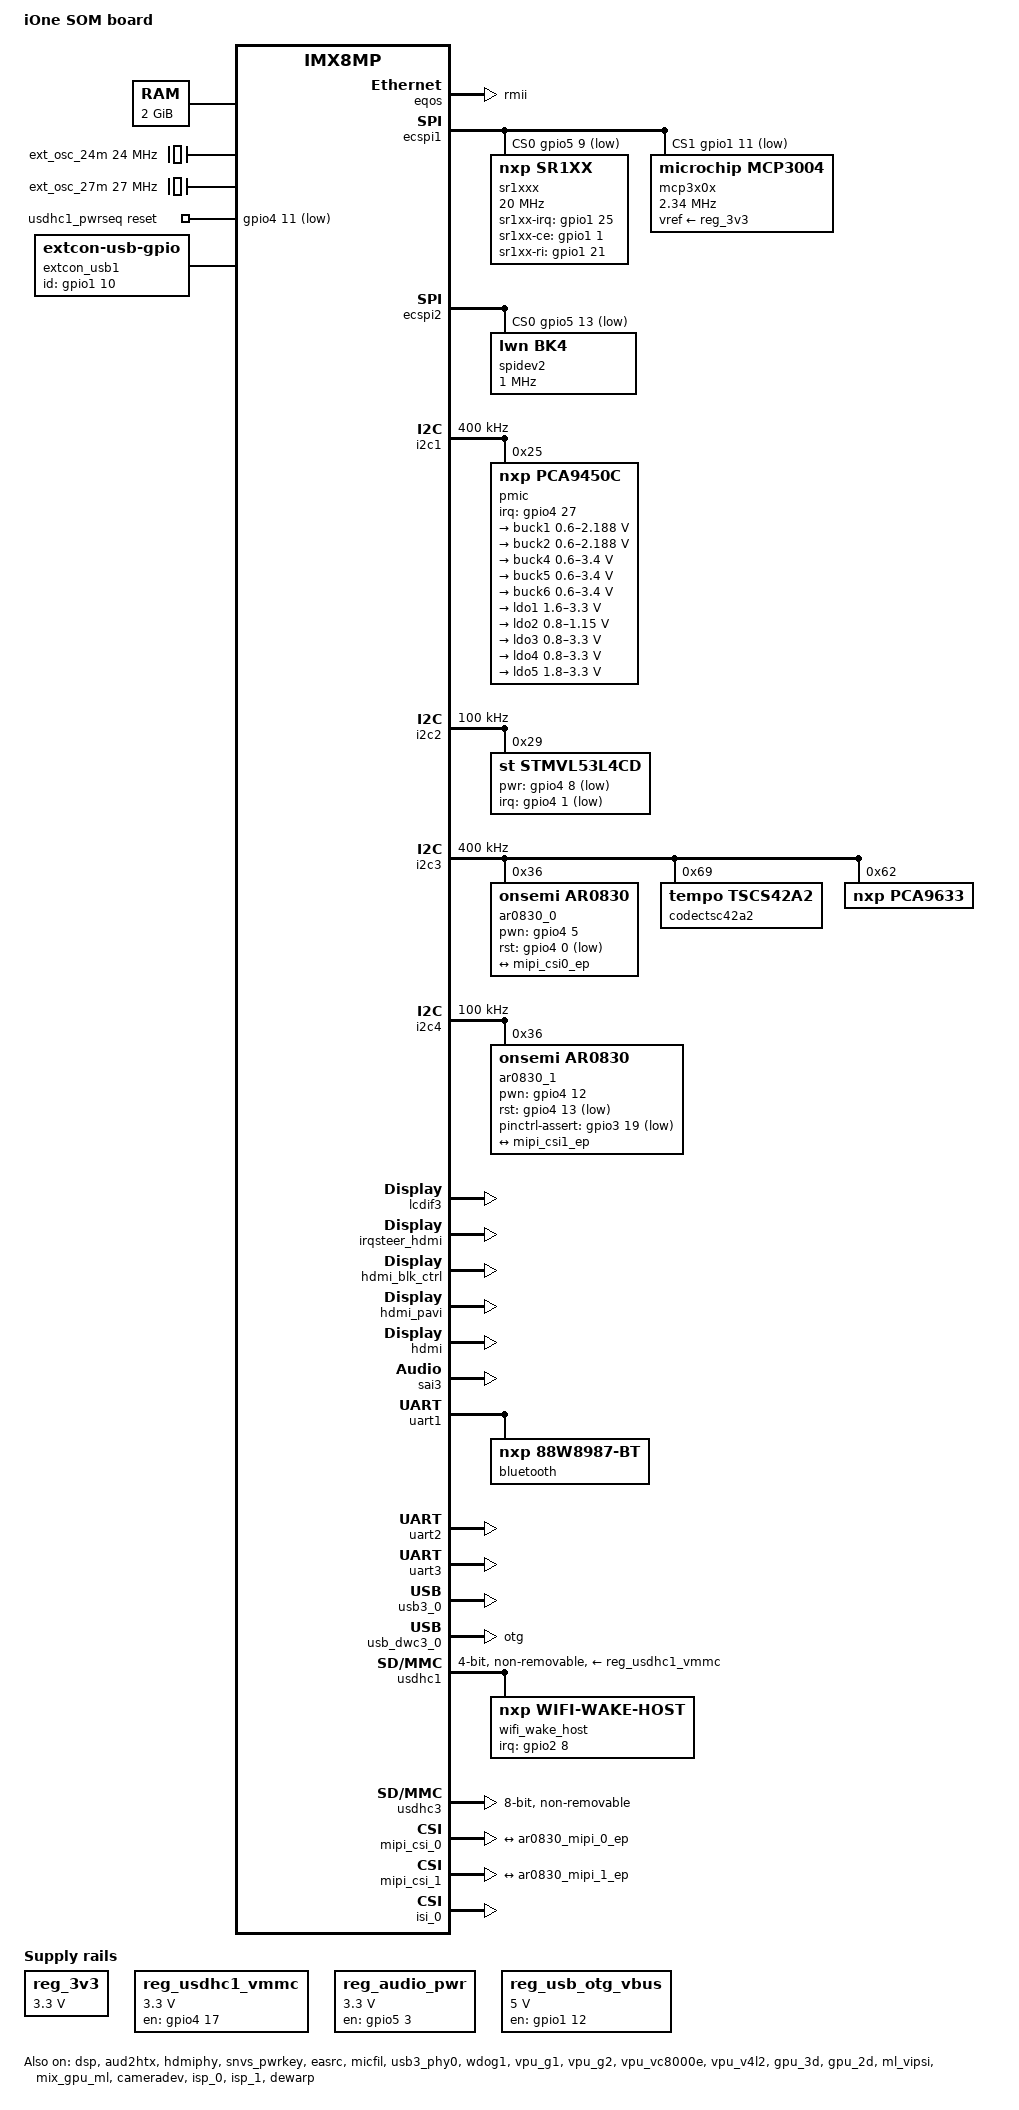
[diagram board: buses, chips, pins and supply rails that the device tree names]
// SPDX-License-Identifier: (GPL-2.0+ OR MIT)
/*
 * Copyright 2019 NXP
 * Copyright 2022 Future Electronics
 */

/dts-v1/;

#include <dt-bindings/usb/pd.h>
#include "imx8mp.dtsi"

/ {
	model = "iOne SOM board";
	compatible = "fsl,imx8mp-evk", "fsl,imx8mp";

	chosen {
		stdout-path = &uart2;
	};

	memory@40000000 {
		device_type = "memory";
		reg = <0x0 0x40000000 0 0x80000000>;
	};

	reg_3v3: reg_3v3 {
		compatible = "regulator-fixed";
		regulator-name = "3v3";
		regulator-min-microvolt = <3300000>;
		regulator-max-microvolt = <3300000>;
		regulator-always-on;
	};

	ext_osc_24m: ext-osc-24m {
		compatible = "fixed-clock";
		#clock-cells = <0>;
		clock-frequency = <24000000>;
	};

	ext_osc_27m: ext-osc-27m {
		compatible = "fixed-clock";
		#clock-cells = <0>;
		clock-frequency = <27000000>;
	};

	// clock_ext_rmii: clock-ext-rmii {
	// 	compatible = "fixed-clock";
	// 	#clock-cells = <0>;
	// 	clock-frequency = <50000000>;
	// 	clock-output-names = "ext_rmii_clk";
	// };
		
	// clock_ext_ts: clock-ext-ts {
	// 	compatible = "fixed-clock";
	// 	#clock-cells = <0>;
	// 	clock-frequency = <50000000>;
	// 	clock-output-names = "ext_ts_clk";
	// };
		
	reg_usdhc1_vmmc: regulator-usdhc1 {
		compatible = "regulator-fixed";
		regulator-name = "WLAN_EN";
		regulator-min-microvolt = <3300000>;
		regulator-max-microvolt = <3300000>;
		gpio = <&gpio4 17 GPIO_ACTIVE_HIGH>;
		/*
		 * IW612 wifi chip needs more delay than other wifi chips to complete
		 * the host interface initialization after power up, otherwise the
		 * internal state of IW612 may be unstable, resulting in the failure of
		 * the SDIO3.0 switch voltage.
		 */
		startup-delay-us = <20000>;
		enable-active-high;
	};

	usdhc1_pwrseq: usdhc1_pwrseq {
		compatible = "mmc-pwrseq-simple";
		reset-gpios = <&gpio4 11 GPIO_ACTIVE_LOW>;
		post-power-on-delay-ms = <80>;
	};
	
	reg_audio_pwr: regulator-audio-pwr {
		compatible = "regulator-fixed";
		regulator-name = "audio-pwr";
		regulator-min-microvolt = <3300000>;
		regulator-max-microvolt = <3300000>;
		gpio = <&gpio5 3 GPIO_ACTIVE_HIGH>;
		enable-active-high;
		regulator-always-on;
	};

	reg_usb_otg_vbus: regulator-usb-otg-vbus {
		compatible = "regulator-fixed";
		pinctrl-names = "default";
		pinctrl-0 = <&pinctrl_usb0_vbus>;
		regulator-name = "usb_otg_vbus";
		regulator-min-microvolt = <5000000>;
		regulator-max-microvolt = <5000000>;
		gpio = <&gpio1 12 GPIO_ACTIVE_HIGH>;
		enable-active-high;
	};
	
	extcon_usb1: extcon_usb1 {
		compatible = "linux,extcon-usb-gpio";
		pinctrl-names = "default";
		pinctrl-0 = <&pinctrl_extcon>;
		id-gpio = <&gpio1 10 GPIO_ACTIVE_HIGH>;
		status = "okay";
	};

	trusty {
		compatible = "android,trusty-smc-v1";
		ranges;
		#address-cells = <2>;
		#size-cells = <2>;
		trusty-irq {
			compatible = "android,trusty-irq-v1";
			interrupt-ranges = < 0 15 0>;
			ipi-range = <8 15 8>;
		};
		trusty-virtio {
			compatible = "android,trusty-virtio-v1";
		};
		trusty-log {
			compatible = "android,trusty-log-v1";
		};
	};
	
	sound {
		compatible = "simple-audio-card";
		simple-audio-card,name = "TSCS42A2-Sound-card";
		simple-audio-card,format = "i2s";
		simple-audio-card,bitclock-master = <&dailink0_master>;
		simple-audio-card,frame-master = <&dailink0_master>;
		simple-audio-card,widgets =
			"Speaker", "Speakers",
			"Microphone", "Analog Mic",
			"Microphone", "Digital Mic",
			"Line", "Line In";
		simple-audio-card,routing =
			"Speakers", "Speaker L",
			"Speakers", "Speaker R",
			"Line In 3 L", "Digital Mic",
			"Line In 3 R", "Digital Mic",
			"Digital Mic", "Digital Mic Enable",
			"Line In 1 L", "Analog Mic",
			"Line In 1 R", "Analog Mic",
			"Analog Mic", "Mic Bias",
			"Line In 2 L", "Line In",
			"Line In 2 R", "Line In";
		status = "okay";
		cpu_dai: simple-audio-card,cpu {
			sound-dai = <&sai3>;
			status = "okay";
		};
		dailink0_master: simple-audio-card,codec {
			sound-dai = <&codectsc42a2>;
			clocks = <&audio_blk_ctrl IMX8MP_CLK_AUDIOMIX_SAI3_MCLK1>;
			status = "okay";
		};
	};

	sound-hdmi {
		compatible = "fsl,imx-audio-hdmi";
		model = "audio-hdmi";
		audio-cpu = <&aud2htx>;
		hdmi-out;
		constraint-rate = <44100>,
				<88200>,
				<176400>,
				<32000>,
				<48000>,
				<96000>,
				<192000>;
		status = "okay";
	};

	sound-micfil {
		compatible = "fsl,imx-audio-card";
		model = "imx-audio-micfil";
		pri-dai-link {
			link-name = "micfil hifi";
			format = "i2s";
			cpu {
				sound-dai = <&micfil>;
			};
		};
	};
};

&clk {
	assigned-clocks = <&clk IMX8MP_CLK_AUDIO_AHB>,
			  <&clk IMX8MP_CLK_AUDIO_AXI_SRC>,
			  <&clk IMX8MP_AUDIO_PLL1>,
			  <&clk IMX8MP_AUDIO_PLL2>,
			  <&clk IMX8MP_VIDEO_PLL1>;
	assigned-clock-parents = <&clk IMX8MP_SYS_PLL1_800M>,
				 <&clk IMX8MP_SYS_PLL3_OUT>;
	assigned-clock-rates = <400000000>,
			       <600000000>,
			       <393216000>,
			       <361267200>,
			       <1039500000>;
};

&{/reserved-memory} {
	linux,cma {
		size = <0 0x1e000000>;
		alloc-ranges = <0 0x40000000 0 0x80000000>;
	};
	
	gpu_reserved@100000000 {
		reg = <0x0 0x80000000 0 0x10000000>;	/*moving GPU memory into the 2GB space*/
	};
};

&A53_0 {
	cpu-supply = <&buck2>;
};

&A53_1 {
	cpu-supply = <&buck2>;
};

&A53_2 {
	cpu-supply = <&buck2>;
};

&A53_3 {
	cpu-supply = <&buck2>;
};

&dsp {
	status = "okay";
};

&aud2htx {
	status = "okay";
};

&eqos {
	pinctrl-names = "default";
	pinctrl-0 = <&pinctrl_eqos>;
	phy-mode = "rmii";
	//--phy-handle = <&ethphy0>;
	status = "okay";
	//--snps,rmii_refclk_ext;
	// clocks = <&clk IMX8MP_CLK_ENET_QOS_ROOT>,
	// 	<&clk IMX8MP_CLK_QOS_ENET_ROOT>,
	// 	<&clk IMX8MP_CLK_ENET_QOS_TIMER>,
	// 	<&clock_ext_rmii>;
	// clock-names = "stmmaceth",
	// 	"pclk",
	// 	"ptp_ref",
	// 	"tx";
	// assigned-clocks = <&clk IMX8MP_CLK_ENET_QOS_TIMER>;
	// assigned-clock-parents = <&clock_ext_ts>;
	 
	// mdio {
	// 	compatible = "snps,dwmac-mdio";
	// 	#address-cells = <1>;
	// 	#size-cells = <0>;
 
	// 	ethphy0: ethernet-phy@0 {
	// 		compatible = "ethernet-phy-ieee802.3-c22";
	// 		reg = <0>;
	// 		// eee-broken-1000t;
	// 		reset-gpios = <&gpio4 7 GPIO_ACTIVE_LOW>;
	// 		// interrupt-parent = <&gpio4>;
	// 		// interrupts = <6 0>;
	// 		max-speed = <100>;
	// 		reset-assert-us = <10000>;
	// 		reset-deassert-us = <80000>;
	// 		// realtek,clkout-disable;
	// 	};
	// };
};

&ecspi1 {
	#address-cells = <1>;
	#size-cells = <0>;
	// compatible = "fsl,imx8mp-ecspi";
	pinctrl-names = "default";
	pinctrl-0 = <&pinctrl_ecspi1>;
	cs-gpios = <&gpio5 9 GPIO_ACTIVE_LOW>,
			   <&gpio1 11 GPIO_ACTIVE_LOW>;
	status = "okay";

	sr1xxx: sr1xx@0 {
		compatible = "nxp,sr1xx";
		reg = <0>;	/* CE0 */
		pinctrl-names = "default";
	//---- Double check this 	pinctrl-0 = <&pinctrl_sr1xx>;
		nxp,sr1xx-irq = <&gpio1 25 0>;	//interrupt 
		nxp,sr1xx-ce = <&gpio1 1 0>;	//UWB enable
		nxp,sr1xx-ri = <&gpio1 21 0>;	//read indicator
		spi-max-frequency = <20000000>;
	};
	
	mcp3x0x: mcp3x0x@1 { /* ADC */
		compatible = "microchip,mcp3004";
		reg = <1>;
		spi-max-frequency = <2340000>; //was 1MHz
		vref-supply = <&reg_3v3>;
	};
};

&ecspi2 {
	#address-cells = <1>;
	#size-cells = <0>;
	pinctrl-names = "default";
	pinctrl-0 = <&pinctrl_ecspi2>;
	cs-gpios = <&gpio5 13 GPIO_ACTIVE_LOW>;
	status = "okay";

	spidev2: spidev@0 {
		reg = <0>;
		compatible = "lwn,bk4";
		spi-max-frequency = <1000000>;
	};
};

&gpio1 {
	gpio-line-names = 
		"gpio1-00", "gpio1-01", "gpio1-02", "gpio1-03",
		"gpio1-04", "gpio1-05", "gpio1-06", "gpio1-07",
		"gpio1-08", "gpio1-09", "gpio1-10", "gpio1-11",
		"gpio1-12", "gpio1-13", "gpio1-14", "gpio1-15",
		"gpio1-16", "gpio1-17", "gpio1-18", "gpio1-19",
		"gpio1-20", "gpio1-21", "gpio1-22", "gpio1-23",
		"gpio1-24", "gpio1-25", "gpio1-26", "gpio1-27",
		"gpio1-28", "gpio1-29", "gpio1-30", "gpio1-31";
};

&gpio2 {
	gpio-line-names = 
		"gpio2-00", "gpio2-01", "gpio2-02", "gpio2-03",
		"gpio2-04", "gpio2-05", "gpio2-06", "gpio2-07",
		"gpio2-08", "gpio2-09", "gpio2-10", "gpio2-11",
		"gpio2-12", "gpio2-13", "gpio2-14", "gpio2-15",
		"gpio2-16", "gpio2-17", "gpio2-18", "gpio2-19",
		"gpio2-20", "gpio2-21", "gpio2-22", "gpio2-23",
		"gpio2-24", "gpio2-25", "gpio2-26", "gpio2-27",
		"gpio2-28", "gpio2-29", "gpio2-30", "gpio2-31";
};

&gpio3 {
	gpio-line-names = 
		"gpio3-00", "gpio3-01", "gpio3-02", "gpio3-03",
		"gpio3-04", "gpio3-05", "gpio3-06", "gpio3-07",
		"gpio3-08", "gpio3-09", "gpio3-10", "gpio3-11",
		"gpio3-12", "gpio3-13", "gpio3-14", "gpio3-15",
		"gpio3-16", "gpio3-17", "gpio3-18", "gpio3-19",
		"gpio3-20", "gpio3-21", "gpio3-22", "gpio3-23",
		"gpio3-24", "gpio3-25", "gpio3-26", "gpio3-27",
		"gpio3-28", "gpio3-29", "gpio3-30", "gpio3-31";
};

&gpio4 {
	gpio-line-names = 
		"CAM1_nRST",  "gpio4-01",  "gpio4-02",  "LTE_WAKE",
		"CAM1_FLASH", "CAM1_TRIG", "ENET_nINT", "ENET_nRST",
		"gpio4-08",   "gpio4-09",  "LTE_RST",   "gpio4-11",
		"gpio4-12",   "gpio4-13",  "gpio4-14",  "gpio4-15",
		"gpio4-16",   "gpio4-17",  "gpio4-18",  "gpio4-19",
		"LTE_PWRON",  "gpio4-21",  "gpio4-22",  "gpio4-23",
		"gpio4-24",   "gpio4-25",  "gpio4-26",  "gpio4-27",
		"gpio4-28",   "gpio4-29",  "gpio4-30",  "gpio4-31";
		
	// TODO: set up LTE defaults
	// probably LTE_WAKE high and LTE_PWRON high 
};

&gpio5 {
	gpio-line-names = 
		"gpio5-00", "gpio5-01", "gpio5-02", "gpio5-03",
		"gpio5-04", "gpio5-05", "gpio5-06", "gpio5-07",
		"gpio5-08", "gpio5-09", "gpio5-10", "gpio5-11",
		"gpio5-12", "gpio5-13", "gpio5-14", "gpio5-15",
		"gpio5-16", "gpio5-17", "gpio5-18", "gpio5-19",
		"gpio5-20", "gpio5-21", "gpio5-22", "gpio5-23",
		"gpio5-24", "gpio5-25", "gpio5-26", "gpio5-27",
		"gpio5-28", "gpio5-29", "gpio5-30", "gpio5-31";
};

&i2c1 {
	clock-frequency = <400000>;
	pinctrl-names = "default";
	pinctrl-0 = <&pinctrl_i2c1>;
	status = "okay";

	pmic@25 {
		compatible = "nxp,pca9450c";
		reg = <0x25>;
		pinctrl-names = "default";
		pinctrl-0 = <&pinctrl_pmic>;
		interrupt-parent = <&gpio4>;
		interrupts = <27 IRQ_TYPE_LEVEL_LOW>;

		regulators {
			buck1: BUCK1 {
				regulator-name = "BUCK1";
				regulator-min-microvolt = <600000>;
				regulator-max-microvolt = <2187500>;
				regulator-boot-on;
				regulator-always-on;
				regulator-ramp-delay = <3125>;
			};

			buck2: BUCK2 {
				regulator-name = "BUCK2";
				regulator-min-microvolt = <600000>;
				regulator-max-microvolt = <2187500>;
				regulator-boot-on;
				regulator-always-on;
				regulator-ramp-delay = <3125>;
				nxp,dvs-run-voltage = <950000>;
				nxp,dvs-standby-voltage = <850000>;
			};

			buck4: BUCK4 {
				regulator-name = "BUCK4";
				regulator-min-microvolt = <600000>;
				regulator-max-microvolt = <3400000>;
				regulator-boot-on;
				regulator-always-on;
			};

			buck5: BUCK5 {
				regulator-name = "BUCK5";
				regulator-min-microvolt = <600000>;
				regulator-max-microvolt = <3400000>;
				regulator-boot-on;
				regulator-always-on;
			};

			buck6: BUCK6 {
				regulator-name = "BUCK6";
				regulator-min-microvolt = <600000>;
				regulator-max-microvolt = <3400000>;
				regulator-boot-on;
				regulator-always-on;
			};

			ldo1: LDO1 {
				regulator-name = "LDO1";
				regulator-min-microvolt = <1600000>;
				regulator-max-microvolt = <3300000>;
				regulator-boot-on;
				regulator-always-on;
			};

			ldo2: LDO2 {
				regulator-name = "LDO2";
				regulator-min-microvolt = <800000>;
				regulator-max-microvolt = <1150000>;
				regulator-boot-on;
				regulator-always-on;
			};

			ldo3: LDO3 {
				regulator-name = "LDO3";
				regulator-min-microvolt = <800000>;
				regulator-max-microvolt = <3300000>;
				regulator-boot-on;
				regulator-always-on;
			};

			ldo4: LDO4 {
				regulator-name = "LDO4";
				regulator-min-microvolt = <800000>;
				regulator-max-microvolt = <3300000>;
				regulator-boot-on;
				regulator-always-on;
			};

			ldo5: LDO5 {
				regulator-name = "LDO5";
				regulator-min-microvolt = <1800000>;
				regulator-max-microvolt = <3300000>;
				regulator-boot-on;
				regulator-always-on;
			};
		};
	};
};

&i2c2 {
	clock-frequency = <100000>;
	pinctrl-names = "default";
	pinctrl-0 = <&pinctrl_i2c2>;
	status = "okay";

	// stmvl53l4cd: stmvl53l4cd@29 { /* Tamper Detector */
	// 	// compatible = "st,stmvl53l4cd";
	// 	compatible = "st,vl53l4x";
	// 	reg = <0x29>;
	// 	status = "okay";
	// };

    stmvl53l4cd: stmvl53l4cd@29 {
        compatible = "st,stmvl53l4cd";
        reg = <0x29>;
		pinctrl-names = "default";
		pinctrl-0 = <&pinctrl_stmvl53l4cd>;
        status = "okay";

		pwr-gpios = <&gpio4 8 GPIO_ACTIVE_LOW>;                
		irq-gpios = <&gpio4 1 GPIO_ACTIVE_LOW>;
    };
};

&i2c3 {
	clock-frequency = <400000>;
	pinctrl-names = "default";
	pinctrl-0 = <&pinctrl_i2c3>;
	status = "okay";

	// Camera
	ar0830_0: ar0830_mipi@36 {
		compatible = "onsemi,ar0830";
		reg = <0x36>;
		pinctrl-names = "default";
		pinctrl-0 = <&pinctrl_csi0_pwn>, <&pinctrl_csi0_rst>;
		clocks = <&ext_osc_27m>;
		clock-names = "csi_mclk";
		csi_id = <0x00>;
		pwn-gpios = <&gpio4 5 GPIO_ACTIVE_HIGH>;
		rst-gpios = <&gpio4 0 GPIO_ACTIVE_LOW>;
		mclk = <27000000>;
		mclk_source = <0>;
		status = "okay";

		port@0 {
			ar0830_mipi_0_ep: endpoint {
				remote-endpoint = <&mipi_csi0_ep>;
				data-lanes = <1 2 3 4>;
				clock-lanes = <0>;
			};
		};
	};

	codectsc42a2: tscs42a2@69 {
		#sound-dai-cells = <0>;
		reg = <0x69>;
		compatible = "tempo,tscs42A2";
		clocks = <&audio_blk_ctrl IMX8MP_CLK_AUDIOMIX_SAI3_MCLK1>;
		clock-names = "mclk2";
		status = "okay";
	};

	pca9633: pca9633@62 { /* LED */
		compatible = "nxp,pca9633";
		#address-cells = <1>;
		#size-cells = <0>;
		reg = <0x62>;

		blue@0 {
			label = "blue";
			reg = <0>;
			linux,default-trigger = "none";
		};
		red@1 {
			label = "red";
			reg = <1>;
			linux,default-trigger = "none";
		};
		green@2 {
			label = "green";
			reg = <2>;
			linux,default-trigger = "none";
		};
		unused@3 {
			label = "unused";
			reg = <3>;
			linux,default-trigger = "none";
		};
	};
};

&i2c4 {
	#address-cells = <1>;
	#size-cells = <0>;
	clock-frequency = <100000>;
	pinctrl-names = "default";
	pinctrl-0 = <&pinctrl_i2c4>;
	status = "okay";
	
	ar0830_1: ar0830_mipi@36 {
		compatible = "onsemi,ar0830";
		reg = <0x36>;
		pinctrl-names = "default";
		pinctrl-0 = <&pinctrl_csi1_pwn>, <&pinctrl_csi1_rst>;
		clocks = <&ext_osc_27m>;
		clock-names = "csi_mclk";
		csi_id = <0x01>;
		pwn-gpios = <&gpio4 12 GPIO_ACTIVE_HIGH>;
		rst-gpios = <&gpio4 13 GPIO_ACTIVE_LOW>;
		mclk = <27000000>;
		mclk_source = <0>;
		status = "okay";

		pinctrl-assert-gpios = <&gpio3 19 GPIO_ACTIVE_LOW>;

		port {
			ar0830_mipi_1_ep: endpoint {
				remote-endpoint = <&mipi_csi1_ep>;
				data-lanes = <1 2 3 4>;
				clock-lanes = <0>;
			};
		};
	};
};

//MIPI-DSI interface
&lcdif1 {
	assigned-clocks = <&clk IMX8MP_CLK_MEDIA_DISP1_PIX>,
				<&clk IMX8MP_CLK_MEDIA_AXI>,
				<&clk IMX8MP_CLK_MEDIA_APB>;
	assigned-clock-parents = <&clk IMX8MP_VIDEO_PLL1_OUT>,
				<&clk IMX8MP_SYS_PLL1_800M>,
				<&clk IMX8MP_SYS_PLL1_800M>;
	assigned-clock-rates = <0>, <400000000>, <200000000>;
	
	status = "disabled";
};


//LVDS Interface
&lcdif2 {
	assigned-clocks = <&clk IMX8MP_CLK_MEDIA_DISP2_PIX>,
				<&clk IMX8MP_CLK_MEDIA_AXI>,
				<&clk IMX8MP_CLK_MEDIA_APB>;
	assigned-clock-parents = <&clk IMX8MP_VIDEO_PLL1_OUT>,
				<&clk IMX8MP_SYS_PLL1_800M>,
				<&clk IMX8MP_SYS_PLL1_800M>;
	assigned-clock-rates = <0>, <400000000>, <200000000>;
	status = "disabled";
};

// HDMI Interface
&lcdif3 {
	assigned-clocks = <&clk IMX8MP_CLK_MEDIA_DISP2_PIX>,
				<&clk IMX8MP_CLK_MEDIA_AXI>,
				<&clk IMX8MP_CLK_MEDIA_APB>;
	assigned-clock-parents = <&clk IMX8MP_VIDEO_PLL1_OUT>,
				<&clk IMX8MP_SYS_PLL1_800M>,
				<&clk IMX8MP_SYS_PLL1_800M>;
	assigned-clock-rates = <0>, <400000000>, <200000000>;
	status = "okay";
	thres-low  = <2 3>;             /* (FIFO * 2 / 3) */
	thres-high = <3 3>;             /* (FIFO * 3 / 3) */
};

&ldb {
	status = "disabled";
};

&ldb_phy {
	status = "disabled";
};

&irqsteer_hdmi {
	status = "okay";
};

&hdmi_blk_ctrl {
	status = "okay";
};

&hdmi_pavi {
	status = "okay";
};

&hdmi {
	status = "okay";
};

&hdmiphy {
	status = "okay";
};

&snvs_pwrkey {
	status = "okay";
};

&easrc {
	fsl,asrc-rate  = <48000>;
	status = "okay";
};

&micfil { // MEMS Microphone Array
	#sound-dai-cells = <0>;
	pinctrl-names = "default";
	pinctrl-0 = <&pinctrl_pdm>;
	assigned-clocks = <&clk IMX8MP_CLK_PDM>;
	assigned-clock-parents = <&clk IMX8MP_AUDIO_PLL1_OUT>;
	assigned-clock-rates = <196608000>;
	status = "okay";
};

&sai3 {
	#sound-dai-cells = <0>;
	pinctrl-names = "default";
	pinctrl-0 = <&pinctrl_sai3>;
	assigned-clocks = <&clk IMX8MP_CLK_SAI3>;
	assigned-clock-parents = <&clk IMX8MP_AUDIO_PLL1_OUT>;
	assigned-clock-rates = <12288000>;
	fsl,sai-mclk-direction-output;
	/delete-property/ power-domains;
	status = "okay";
};

&sdma2 {
	status = "okay";
};

&uart1 { /* BT */
	pinctrl-names = "default";
	pinctrl-0 = <&pinctrl_uart1>;
	assigned-clocks = <&clk IMX8MP_CLK_UART1>;
	assigned-clock-parents = <&clk IMX8MP_SYS_PLL1_80M>;
	fsl,uart-has-rtscts;
	pinctrl-assert-gpios = <&gpio2 6 GPIO_ACTIVE_HIGH>; // To double check...it was gpio4 12, in the schematic
	status = "okay";
	
	bluetooth {
		compatible = "nxp,88w8987-bt";
		// fw-init-baudrate = <3000000>; // Double check
	};
};


&uart2 {
	/* console */
	pinctrl-names = "default";
	pinctrl-0 = <&pinctrl_uart2>;
	status = "okay";
};

&uart3 { /* LTE */
	pinctrl-names = "default";
	pinctrl-0 = <&pinctrl_uart3>;
	assigned-clocks = <&clk IMX8MP_CLK_UART3>;
	assigned-clock-parents = <&clk IMX8MP_SYS_PLL1_80M>;
	fsl,dte-mode;
	fsl,uart-has-rtscts;
	status = "okay";
};

&usb3_phy0 {
	vbus-supply = <&reg_usb_otg_vbus>;
	status = "okay";
};

&usb3_0 {
	status = "okay";
	dma-ranges = <0x40000000 0x40000000 0x80000000>;
	fsl,over-current-active-low;
};

&usb_dwc3_0 {
	pinctrl-names = "default";
	pinctrl-0 = <&pinctrl_usb0>;
	dr_mode = "otg";
	hnp-disable;
	srp-disable;
	adp-disable;
	extcon = <&extcon_usb1>;

	maximum-speed = "high-speed";	
	assigned-clocks = <&clk IMX8MP_CLK_HSIO_AXI>;
	assigned-clock-parents = <&clk IMX8MP_SYS_PLL1_800M>;

	assigned-clock-rates = <400000000>;

	status = "okay";
};

&usdhc1 {
	pinctrl-names = "default", "state_100mhz", "state_200mhz";
	pinctrl-0 = <&pinctrl_usdhc1>, <&pinctrl_usdhc1_wlan>;
	pinctrl-1 = <&pinctrl_usdhc1_100mhz>, <&pinctrl_usdhc1_wlan>;
	pinctrl-2 = <&pinctrl_usdhc1_200mhz>, <&pinctrl_usdhc1_wlan>;
	mmc-pwrseq = <&usdhc1_pwrseq>;
	vmmc-supply = <&reg_usdhc1_vmmc>;
	pinctrl-assert-gpios = <&gpio4 11 GPIO_ACTIVE_HIGH>;
	bus-width = <4>;
	keep-power-in-suspend;
	non-removable;
	wakeup-source;
	fsl,sdio-async-interrupt-enabled;
	status = "okay";
	
	wifi_wake_host {
		compatible = "nxp,wifi-wake-host";
		interrupt-parent = <&gpio2>;
		interrupts = <8 IRQ_TYPE_LEVEL_LOW>;
		interrupt-names = "host-wake";
	};
};

&usdhc3 {
	assigned-clocks = <&clk IMX8MP_CLK_USDHC3>;
	assigned-clock-rates = <400000000>;
	pinctrl-names = "default", "state_100mhz", "state_200mhz";
	pinctrl-0 = <&pinctrl_usdhc3>;
	pinctrl-1 = <&pinctrl_usdhc3_100mhz>;
	pinctrl-2 = <&pinctrl_usdhc3_200mhz>;
	bus-width = <8>;
	non-removable;
	status = "okay";
};

&wdog1 {
	pinctrl-names = "default";
	pinctrl-0 = <&pinctrl_wdog>;
	fsl,ext-reset-output;
	status = "okay";
};

&iomuxc {
	pinctrl-names = "default";
	pinctrl-0 = <&pinctrl_hog>;

	pinctrl_hog: hoggrp {
		fsl,pins = <
			MX8MP_IOMUXC_HDMI_DDC_SCL__HDMIMIX_HDMI_SCL	0x400001c3
			MX8MP_IOMUXC_HDMI_DDC_SDA__HDMIMIX_HDMI_SDA	0x400001c3
			MX8MP_IOMUXC_HDMI_HPD__HDMIMIX_HDMI_HPD		0x40000019
			MX8MP_IOMUXC_HDMI_CEC__HDMIMIX_HDMI_CEC		0x40000019
		>;
	};

	pinctrl_eqos: eqosgrp {
        fsl,pins = <
	        MX8MP_IOMUXC_ENET_MDC__ENET_QOS_MDC              0x2
	        MX8MP_IOMUXC_ENET_MDIO__ENET_QOS_MDIO            0x2
	        MX8MP_IOMUXC_ENET_RD0__ENET_QOS_RGMII_RD0        0x90
	        MX8MP_IOMUXC_ENET_RD1__ENET_QOS_RGMII_RD1        0x90
	        // MX8MP_IOMUXC_ENET_RD2__ENET_QOS_RGMII_RD2        0x90
	        // MX8MP_IOMUXC_ENET_RD3__ENET_QOS_RGMII_RD3        0x90
            //--MX8MMX8MP_IOMUXC_ENET_RX_CTL_P_IOMUXC_ENET_RXC__ENET_QOS_RX_ER  0x90
	        MX8MP_IOMUXC_ENET_RX_CTL__ENET_QOS_RGMII_RX_CTL  0x90
	        MX8MP_IOMUXC_ENET_TD0__ENET_QOS_RGMII_TD0        0x16
	        MX8MP_IOMUXC_ENET_TD1__ENET_QOS_RGMII_TD1        0x16
	        MX8MP_IOMUXC_ENET_TD2__CCM_ENET_QOS_CLOCK_GENERATE_REF_CLK   0x4000001f // was 0x40000016
	        //  MX8MP_IOMUXC_ENET_TD3__ENET_QOS_RGMII_TD3        0x16
	        // --MX8MP_IOMUXC_ENET_TX_CTL__ENET_QOS_RGMII_TX_CTL 0x16
	        MX8MP_IOMUXC_ENET_TXC__ENET_QOS_TX_ER            0x16
	        MX8MP_IOMUXC_SAI1_RXD5__GPIO4_IO07               0x10
	        MX8MP_IOMUXC_SAI1_RXD4__GPIO4_IO06               0x10
	        MX8MP_IOMUXC_ENET_RXC__ENET_QOS_RX_ER            0x16
        >;
    };
 
	pinctrl_ecspi1: ecspi1grp {
		fsl,pins = <
			MX8MP_IOMUXC_ECSPI1_SCLK__ECSPI1_SCLK		0x86 // was 0x82
			MX8MP_IOMUXC_ECSPI1_MOSI__ECSPI1_MOSI		0x86 // was 0x82
			MX8MP_IOMUXC_ECSPI1_MISO__ECSPI1_MISO		0x86 // was 0x82
			MX8MP_IOMUXC_ECSPI1_SS0__GPIO5_IO09 		0x40000
			MX8MP_IOMUXC_GPIO1_IO11__GPIO1_IO11         0x40000 // (... 0001 0100 0000) NSS3
		>;
	};

	pinctrl_ecspi2: ecspi2grp {
		fsl,pins = <
			MX8MP_IOMUXC_ECSPI2_SCLK__ECSPI2_SCLK		0x82
			MX8MP_IOMUXC_ECSPI2_MOSI__ECSPI2_MOSI		0x82
			MX8MP_IOMUXC_ECSPI2_MISO__ECSPI2_MISO		0x82
			MX8MP_IOMUXC_ECSPI2_SS0__GPIO5_IO13		0x40000
		>;
	};

	pinctrl_extcon: extcongrp {
		fsl,pins = <
			MX8MP_IOMUXC_GPIO1_IO10__GPIO1_IO10		0x10
		>;
	};


	pinctrl_i2c1: i2c1grp {
		fsl,pins = <
			MX8MP_IOMUXC_I2C1_SCL__I2C1_SCL		0x400001c2
			MX8MP_IOMUXC_I2C1_SDA__I2C1_SDA		0x400001c2
		>;
	};

	pinctrl_i2c2: i2c2grp {
		fsl,pins = <
			MX8MP_IOMUXC_I2C2_SCL__I2C2_SCL		0x400001c2
			MX8MP_IOMUXC_I2C2_SDA__I2C2_SDA		0x400001c2
		>;
	};

	pinctrl_i2c3: i2c3grp {
		fsl,pins = <
			MX8MP_IOMUXC_I2C3_SCL__I2C3_SCL		0x400001c2
			MX8MP_IOMUXC_I2C3_SDA__I2C3_SDA		0x400001c2
		>;
	};

	pinctrl_i2c4: i2c4grp {
		fsl,pins = <
			MX8MP_IOMUXC_I2C4_SCL__I2C4_SCL		0x400001c2
			MX8MP_IOMUXC_I2C4_SDA__I2C4_SDA		0x400001c2
		>;
	};

	pinctrl_pmic: pmicgrp {
		fsl,pins = <
			MX8MP_IOMUXC_SAI2_MCLK__GPIO4_IO27	0x000001c0
		>;
	};

	pinctrl_pdm: pdmgrp {
		fsl,pins = <
			MX8MP_IOMUXC_SAI5_RXC__AUDIOMIX_PDM_CLK		0xd6
			MX8MP_IOMUXC_SAI5_RXD0__AUDIOMIX_PDM_BIT_STREAM00	0xd6
			MX8MP_IOMUXC_SAI5_RXD1__AUDIOMIX_PDM_BIT_STREAM01	0xd6
			MX8MP_IOMUXC_SAI5_RXD2__AUDIOMIX_PDM_BIT_STREAM02	0xd6
		>;
	};

	pinctrl_sai3: sai3grp {
		fsl,pins = <
			MX8MP_IOMUXC_SAI3_TXFS__AUDIOMIX_SAI3_TX_SYNC		0xd6
			MX8MP_IOMUXC_SAI3_TXC__AUDIOMIX_SAI3_TX_BCLK		0xd6
			MX8MP_IOMUXC_SAI3_RXD__AUDIOMIX_SAI3_RX_DATA00	0xd6
			MX8MP_IOMUXC_SAI3_TXD__AUDIOMIX_SAI3_TX_DATA00	0xd6
			MX8MP_IOMUXC_SAI3_MCLK__AUDIOMIX_SAI3_MCLK		0xd4
			MX8MP_IOMUXC_SPDIF_TX__GPIO5_IO03			0xd6
			MX8MP_IOMUXC_SAI3_RXFS__AUDIOMIX_SAI3_RX_SYNC		0xd6
			MX8MP_IOMUXC_SAI3_RXC__AUDIOMIX_SAI3_RX_BCLK		0xd6
		>;
	};

	pinctrl_stmvl53l4cd: stmvl53l4cdgrp {
		fsl,pins = <
			MX8MP_IOMUXC_SAI1_RXD6__GPIO4_IO08   0x12 // guessed, correct if not working
			MX8MP_IOMUXC_SAI1_RXC__GPIO4_IO01    0x12
		>;
	};
	
	pinctrl_uart1: uart1grp {
		fsl,pins = <
			MX8MP_IOMUXC_UART1_RXD__UART1_DCE_RX	0x140
			MX8MP_IOMUXC_UART1_TXD__UART1_DCE_TX	0x140
			MX8MP_IOMUXC_SAI2_RXD0__UART1_DCE_RTS 	0x140 
			MX8MP_IOMUXC_SAI2_TXFS__UART1_DCE_CTS 	0x140 
		>;
	};

	pinctrl_uart2: uart2grp {
		fsl,pins = <
			MX8MP_IOMUXC_UART2_RXD__UART2_DCE_RX	0x140
			MX8MP_IOMUXC_UART2_TXD__UART2_DCE_TX	0x140
		>;
	};

	pinctrl_uart3: uart3grp {
		fsl,pins = <
			MX8MP_IOMUXC_UART3_RXD__UART3_DTE_TX   	0x140	
			MX8MP_IOMUXC_UART3_TXD__UART3_DTE_RX 	0x140	
			MX8MP_IOMUXC_SD1_RESET_B__UART3_DTE_CTS 0x140
			MX8MP_IOMUXC_SD1_STROBE__UART3_DTE_RTS 	0x140
		>;
	};

	pinctrl_usb0_vbus: usb0vbusgrp {
		fsl,pins = <
			MX8MP_IOMUXC_GPIO1_IO12__USB1_PWR		0x19	//USB0 Power enable
		>;
	};	

	pinctrl_usb0: usb0grp {
		fsl,pins = <
			MX8MP_IOMUXC_GPIO1_IO13__USB1_OC 		0x19	// Over current IRQ pin - active low
		>;
	};


	pinctrl_usdhc1: usdhc1grp {
		fsl,pins = <
			MX8MP_IOMUXC_SD1_CLK__USDHC1_CLK	0x190
			MX8MP_IOMUXC_SD1_CMD__USDHC1_CMD	0x1d0
			MX8MP_IOMUXC_SD1_DATA0__USDHC1_DATA0	0x1d0
			MX8MP_IOMUXC_SD1_DATA1__USDHC1_DATA1	0x1d0
			MX8MP_IOMUXC_SD1_DATA2__USDHC1_DATA2	0x1d0
			MX8MP_IOMUXC_SD1_DATA3__USDHC1_DATA3	0x1d0
		>;
	};

	pinctrl_usdhc1_100mhz: usdhc1-100mhzgrp {
		fsl,pins = <
			MX8MP_IOMUXC_SD1_CLK__USDHC1_CLK	0x194
			MX8MP_IOMUXC_SD1_CMD__USDHC1_CMD	0x1d4
			MX8MP_IOMUXC_SD1_DATA0__USDHC1_DATA0	0x1d4
			MX8MP_IOMUXC_SD1_DATA1__USDHC1_DATA1	0x1d4
			MX8MP_IOMUXC_SD1_DATA2__USDHC1_DATA2	0x1d4
			MX8MP_IOMUXC_SD1_DATA3__USDHC1_DATA3	0x1d4
		>;
	};

	pinctrl_usdhc1_200mhz: usdhc1-200mhzgrp {
		fsl,pins = <
			MX8MP_IOMUXC_SD1_CLK__USDHC1_CLK	0x196
			MX8MP_IOMUXC_SD1_CMD__USDHC1_CMD	0x1d6
			MX8MP_IOMUXC_SD1_DATA0__USDHC1_DATA0	0x1d6
			MX8MP_IOMUXC_SD1_DATA1__USDHC1_DATA1	0x1d6
			MX8MP_IOMUXC_SD1_DATA2__USDHC1_DATA2	0x1d6
			MX8MP_IOMUXC_SD1_DATA3__USDHC1_DATA3	0x1d6
		>;
	};

	pinctrl_usdhc1_wlan: usdhc1gpiogrp {
		fsl,pins = <
			MX8MP_IOMUXC_SD1_DATA6__GPIO2_IO08	0x1c4
			// MX8MP_IOMUXC_SAI1_RXFS__GPIO4_IO00	0x1c4
			// MX8MP_IOMUXC_SAI1_TXD1__GPIO4_IO13	0x1c4
		>;
	};

	pinctrl_usdhc3: usdhc3grp {
		fsl,pins = <
			MX8MP_IOMUXC_NAND_WE_B__USDHC3_CLK	0x190
			MX8MP_IOMUXC_NAND_WP_B__USDHC3_CMD	0x1d0
			MX8MP_IOMUXC_NAND_DATA04__USDHC3_DATA0	0x1d0
			MX8MP_IOMUXC_NAND_DATA05__USDHC3_DATA1	0x1d0
			MX8MP_IOMUXC_NAND_DATA06__USDHC3_DATA2	0x1d0
			MX8MP_IOMUXC_NAND_DATA07__USDHC3_DATA3	0x1d0
			MX8MP_IOMUXC_NAND_RE_B__USDHC3_DATA4	0x1d0
			MX8MP_IOMUXC_NAND_CE2_B__USDHC3_DATA5	0x1d0
			MX8MP_IOMUXC_NAND_CE3_B__USDHC3_DATA6	0x1d0
			MX8MP_IOMUXC_NAND_CLE__USDHC3_DATA7	0x1d0 // MX8MP_IOMUX
			MX8MP_IOMUXC_NAND_CE1_B__USDHC3_STROBE	0x190
		>;
	};

	pinctrl_usdhc3_100mhz: usdhc3-100mhzgrp {
		fsl,pins = <
			MX8MP_IOMUXC_NAND_WE_B__USDHC3_CLK	0x194
			MX8MP_IOMUXC_NAND_WP_B__USDHC3_CMD	0x1d4
			MX8MP_IOMUXC_NAND_DATA04__USDHC3_DATA0	0x1d4
			MX8MP_IOMUXC_NAND_DATA05__USDHC3_DATA1	0x1d4
			MX8MP_IOMUXC_NAND_DATA06__USDHC3_DATA2	0x1d4
			MX8MP_IOMUXC_NAND_DATA07__USDHC3_DATA3	0x1d4
			MX8MP_IOMUXC_NAND_RE_B__USDHC3_DATA4	0x1d4
			MX8MP_IOMUXC_NAND_CE2_B__USDHC3_DATA5	0x1d4
			MX8MP_IOMUXC_NAND_CE3_B__USDHC3_DATA6	0x1d4
			MX8MP_IOMUXC_NAND_CLE__USDHC3_DATA7	0x1d4
			MX8MP_IOMUXC_NAND_CE1_B__USDHC3_STROBE	0x194
		>;
	};

	pinctrl_usdhc3_200mhz: usdhc3-200mhzgrp {
		fsl,pins = <
			MX8MP_IOMUXC_NAND_WE_B__USDHC3_CLK	0x196
			MX8MP_IOMUXC_NAND_WP_B__USDHC3_CMD	0x1d6
			MX8MP_IOMUXC_NAND_DATA04__USDHC3_DATA0	0x1d6
			MX8MP_IOMUXC_NAND_DATA05__USDHC3_DATA1	0x1d6
			MX8MP_IOMUXC_NAND_DATA06__USDHC3_DATA2	0x1d6
			MX8MP_IOMUXC_NAND_DATA07__USDHC3_DATA3	0x1d6
			MX8MP_IOMUXC_NAND_RE_B__USDHC3_DATA4	0x1d6
			MX8MP_IOMUXC_NAND_CE2_B__USDHC3_DATA5	0x1d6
			MX8MP_IOMUXC_NAND_CE3_B__USDHC3_DATA6	0x1d6
			MX8MP_IOMUXC_NAND_CLE__USDHC3_DATA7	0x1d6
			MX8MP_IOMUXC_NAND_CE1_B__USDHC3_STROBE	0x196
		>;
	};

	pinctrl_wdog: wdoggrp {
		fsl,pins = <
			MX8MP_IOMUXC_GPIO1_IO02__WDOG1_WDOG_B	0x166
		>;
	};

	
	// both added from camera dts	
	pinctrl_csi0_pwn: csi0_pwn_grp {
		fsl,pins = <
			MX8MP_IOMUXC_SAI1_RXD3__GPIO4_IO05	0x19
		>;
	};
	pinctrl_csi0_rst: csi0_rst_grp {
		fsl,pins = <
			MX8MP_IOMUXC_SAI1_RXFS__GPIO4_IO00	0x19
		>;
	};

	pinctrl_csi1_pwn: csi1_pwn_grp {
		fsl,pins = <
			MX8MP_IOMUXC_SAI1_TXD0__GPIO4_IO12	0x19 // was using this one
			// MX8MP_IOMUXC_SAI1_TXD2__GPIO4_IO14  0x19 // now uses this one
		>;
	};
	pinctrl_csi1_rst: csi1_rst_grp {
		fsl,pins = <
			MX8MP_IOMUXC_SAI1_TXD1__GPIO4_IO13	0x19
		>;
	};
};

&vpu_g1 {
	assigned-clocks = <&clk IMX8MP_VPU_PLL>, <&clk IMX8MP_CLK_VPU_G1>, <&clk IMX8MP_CLK_VPU_BUS>;
	assigned-clock-parents = <0>, <&clk IMX8MP_VPU_PLL_OUT>, <&clk IMX8MP_VPU_PLL_OUT>;
	assigned-clock-rates = <600000000>, <600000000>, <600000000>;

	status = "okay";
};

&vpu_g2 {
	assigned-clocks = <&clk IMX8MP_CLK_VPU_G2>, <&clk IMX8MP_CLK_VPU_BUS>;
	assigned-clock-parents = <&clk IMX8MP_SYS_PLL2_1000M>, <&clk IMX8MP_VPU_PLL_OUT>;
	assigned-clock-rates = <500000000>, <600000000>;
	status = "okay";
};

&vpu_vc8000e {
	assigned-clocks = <&clk IMX8MP_CLK_VPU_VC8000E>,<&clk IMX8MP_CLK_VPU_BUS>;
	assigned-clock-parents = <&clk IMX8MP_SYS_PLL1_800M>, <&clk IMX8MP_VPU_PLL_OUT>;
	assigned-clock-rates = <400000000>, <600000000>;
	status = "okay";
};

&vpu_v4l2 {
	status = "okay";
};

&gpu_3d {
	assigned-clocks = <&clk IMX8MP_CLK_GPU3D_CORE>,
			  <&clk IMX8MP_CLK_GPU3D_SHADER_CORE>,
			  <&clk IMX8MP_CLK_GPU_AXI>,
			  <&clk IMX8MP_CLK_GPU_AHB>,
			  <&clk IMX8MP_GPU_PLL>;
	assigned-clock-parents = <&clk IMX8MP_SYS_PLL1_800M>,
				 <&clk IMX8MP_SYS_PLL1_800M>,
				 <&clk IMX8MP_GPU_PLL_OUT>,
				 <&clk IMX8MP_SYS_PLL1_800M>;
	assigned-clock-rates = <800000000>, <800000000>,
			       <600000000>, <300000000>,
			       <600000000>;
	status = "okay";
};

&gpu_2d {
	assigned-clocks = <&clk IMX8MP_CLK_GPU2D_CORE>,
			  <&clk IMX8MP_CLK_GPU_AXI>,
			  <&clk IMX8MP_CLK_GPU_AHB>,
			  <&clk IMX8MP_GPU_PLL>;
	assigned-clock-parents = <&clk IMX8MP_SYS_PLL1_800M>,
				 <&clk IMX8MP_GPU_PLL_OUT>,
				 <&clk IMX8MP_GPU_PLL_OUT>;
	assigned-clock-rates = <800000000>, <600000000>,
			       <300000000>, <600000000>;
	status = "okay";
};

&ml_vipsi {
	assigned-clocks = <&clk IMX8MP_CLK_ML_CORE>,
			  <&clk IMX8MP_CLK_ML_AXI>,
			  <&clk IMX8MP_CLK_ML_AHB>;
	assigned-clock-parents = <&clk IMX8MP_SYS_PLL1_800M>,
				 <&clk IMX8MP_SYS_PLL1_800M>,
				 <&clk IMX8MP_GPU_PLL_OUT>;
	assigned-clock-rates = <800000000>, <800000000>, <300000000>;
	status = "okay";
};

&mix_gpu_ml {
	reg = <0x0 0x40000000 0x0 0x80000000>, <0x0 0x0 0x0 0x10000000>;
	status = "okay";
};

&mipi_csi_0 {
	#address-cells = <1>;
	#size-cells = <0>;
	status = "okay";
	
	assigned-clocks = <&clk IMX8MP_CLK_MEDIA_CAM1_PIX>;
	assigned-clock-parents = <&clk IMX8MP_SYS_PLL1_800M>;
	assigned-clock-rates = <400000000>;

	port {
		mipi_csi0_ep: endpoint {
			remote-endpoint = <&ar0830_mipi_0_ep>;
			data-lanes = <4>;
			csis-hs-settle = <23>;
			csis-clk-settle = <2>;
			csis-wclk;
		};
	};
};

// Camera
&mipi_csi_1 {
	#address-cells = <1>;
	#size-cells = <0>;
	status = "okay";

	// TODO: see if these are actually used correctly
	assigned-clocks = <&clk IMX8MP_CLK_MEDIA_CAM1_PIX>;
	assigned-clock-parents = <&clk IMX8MP_SYS_PLL1_800M>;
	assigned-clock-rates = <400000000>;

	port@1 {
		reg = <1>;
		
		mipi_csi1_ep: endpoint {
			remote-endpoint = <&ar0830_mipi_1_ep>;
			data-lanes = <4>;
			csis-hs-settle = <23>;
			csis-clk-settle = <2>;
			csis-wclk;
		};

	};
};

&cameradev {
	status = "okay";
};

&isi_0 {
	assigned-clocks = <&clk IMX8MP_CLK_MEDIA_AXI_ROOT>,
			  <&clk IMX8MP_CLK_MEDIA_APB_ROOT>;
	assigned-clock-rates = <400000000>, <200000000>;
	status = "okay";

	cap_device {
		status = "disabled";
	};

	m2m_device {
		status = "okay";
	};
};

&isi_1 {
	assigned-clocks = <&clk IMX8MP_CLK_MEDIA_AXI_ROOT>,
			  <&clk IMX8MP_CLK_MEDIA_APB_ROOT>;
	assigned-clock-rates = <400000000>, <200000000>;
	status = "disabled";

	cap_device {
		status = "okay";
	};
};

&isp_0 {
	status = "okay";
	assigned-clocks = <&clk IMX8MP_CLK_MEDIA_ISP>;
	assigned-clock-parents = <&clk IMX8MP_SYS_PLL1_800M>;
	assigned-clock-rates = <400000000>;
};

&isp_1 {
	status = "okay";
	assigned-clocks = <&clk IMX8MP_CLK_MEDIA_ISP>;
	assigned-clock-parents = <&clk IMX8MP_SYS_PLL1_800M>;
	assigned-clock-rates = <400000000>;
};

&dewarp {
	status = "okay";
};
